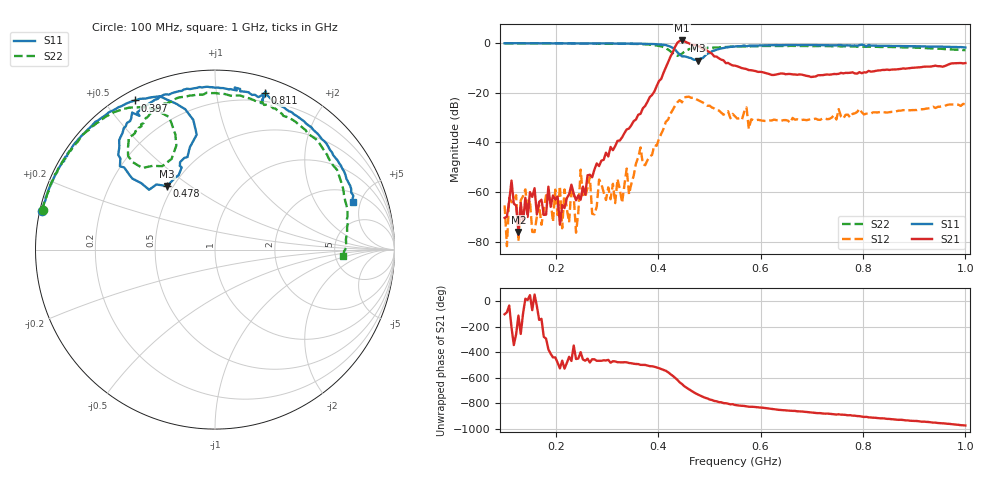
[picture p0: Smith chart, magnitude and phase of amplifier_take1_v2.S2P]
!Agilent Technologies,E5071C,MY46101273,A.11.02
!Date: Fri Nov 03 16:11:05 2017
!Data & Calibration Information:
!Freq	S11:SOLT2(ON)	S21:SOLT2(ON)	S12:SOLT2(ON)	S22:SOLT2(ON)
!PortZ  Port1:50+j0  Port2:50+j0
!Above PortZ is port z conversion or system Z0 setting when saving the data.
!When reading, reference impedance value at option line is always used.
# Hz S dB R 50
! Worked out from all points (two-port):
!   201 points, 100 MHz to 1 GHz, reference 50 ohm
!   highest |S21| = 1.01 dB at 446.5 MHz (marker M1); lowest = -76.0 dB at 127 MHz (marker M2)
!   |S21| within 3 dB of the highest: 432.1 MHz to 484.9 MHz (52.86 MHz wide, 11.5 % of centre)
!   lowest |S11| = -7.1 dB at 478 MHz (marker M3), VSWR 2.60, Z = 23.2 + j20.5 ohm
!   |S11| at or under -10 dB: nowhere
!   |S22| runs from -5.2 to -0.1 dB; largest |S21 - S12| = 1.1
!   S11 on the Smith chart (normalised r, x): 100 MHz: 0.01, +0.11; 397 MHz: 0.04, +0.60; 478 MHz: 0.46, +0.41; 811 MHz: 0.13, +1.36; 1 GHz: 2.76, +4.27
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1e8  -0.13 167.5  -70.33 -102.9  -65.32 13.5  -0.14 167.0
1.045e8  -0.11 166.6  -69.85 -87.4  -81.74 -174.9  -0.10 166.7
1.135e8  -0.13 165.6  -55.36 153.0  -64.07 18.2  -0.12 165.3
1.27e8  -0.13 164.2  -76.03 -113.5  -79.73 50.5  -0.13 163.6
1.405e8  -0.13 162.3  -62.26 18.7  -58.88 30.1  -0.13 161.9
1.54e8  -0.14 160.6  -61.91 -71.1  -76.01 -31.6  -0.16 160.2
2.08e8  -0.16 153.5  -73.12 -166.2  -57.57 79.5  -0.15 153.1
2.125e8  -0.16 152.7  -65.21 -105.9  -74.53 -88.0  -0.14 152.6
2.17e8  -0.17 152.0  -66.42 -168.3  -58.93 84.7  -0.18 152.0
2.395e8  -0.17 148.8  -63.28 -92.8  -76.31 43.4  -0.21 148.6
2.485e8  -0.22 147.7  -63.05 -39.4  -50.96 49.1  -0.21 147.4
2.53e8  -0.17 146.9  -57.77 -96.7  -61.76 133.9  -0.19 146.7
3.295e8  -0.24 134.9  -37.96 -119.2  -64.27 -159.0  -0.31 134.1
3.97e8  -0.51 118.1  -17.36 -158.4  -41.38 150.7  -1.01 116.8
4.015e8  -0.54 116.6  -15.32 -164.5  -38.46 143.6  -1.21 114.9
4.465e8  -5.38 106.6  1.01 71.5  -23.87 35.0  -4.31 131.6
4.78e8  -7.06 127.1  -1.31 -11.4  -23.00 -51.7  -2.07 124.4
5.5e8  -1.44 126.0  -9.12 -92.1  -29.53 -136.1  -1.41 114.2
7.03e8  -0.83 92.8  -13.59 -152.5  -30.64 165.9  -1.29 83.5
8.11e8  -0.77 72.3  -11.24 171.2  -28.38 115.2  -1.49 57.9
8.515e8  -1.18 59.7  -10.86 158.8  -27.87 112.5  -1.60 46.5
1e9  -1.81 19.0  -8.09 107.8  -24.64 75.8  -2.90 -2.7
